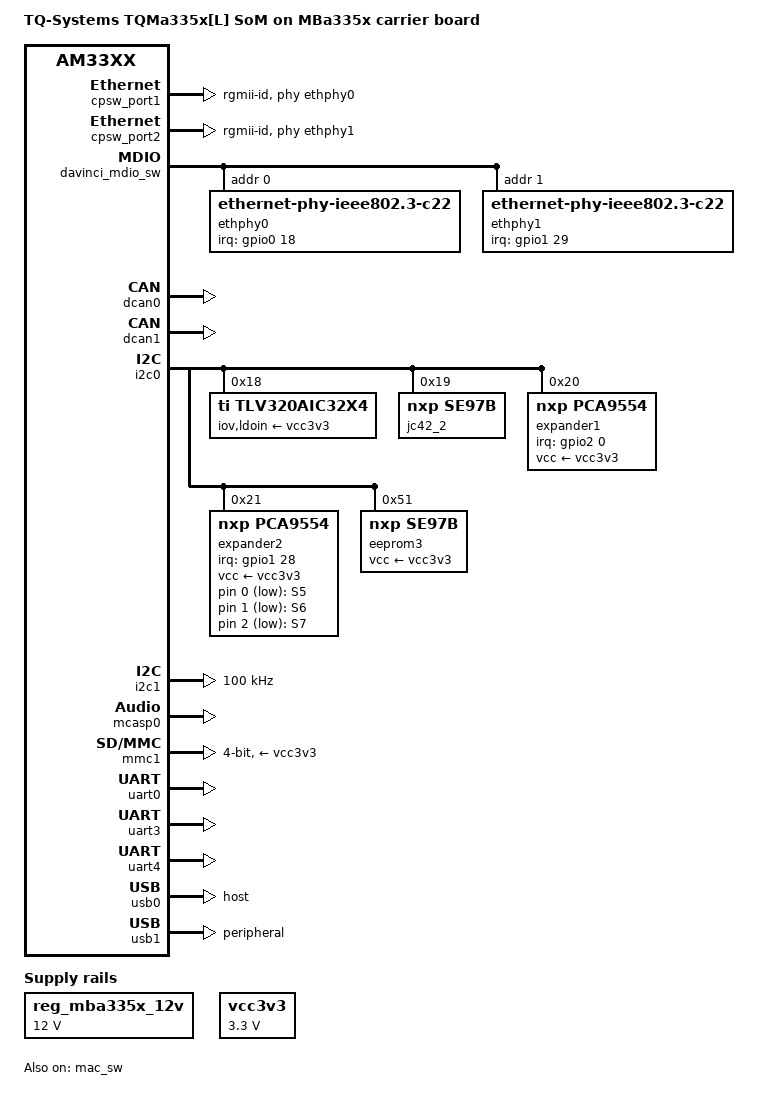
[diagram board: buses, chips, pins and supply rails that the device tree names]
// SPDX-License-Identifier: GPL-2.0-only
/*
 * Copyright (c) 2021-2025 TQ-Systems GmbH <linux@ew.tq-group.com>, D-82229 Seefeld, Germany.
 * Authors: Gregor Herburger, Matthias Schiffer
 *
 * Based on:
 * Copyright (C) 2012 Texas Instruments Incorporated - http://www.ti.com/
 */
/dts-v1/;

#include <dt-bindings/input/input.h>
#include <dt-bindings/interrupt-controller/irq.h>
#include "am335x-tqma335x.dtsi"

/ {
	model = "TQ-Systems TQMa335x[L] SoM on MBa335x carrier board";
	compatible = "tq,tqma3359-mba335x", "tq,tqma3359", "ti,am33xx";
	chassis-type = "embedded";

	chosen {
		stdout-path = &uart4;
	};

	backlight: backlight {
		compatible = "pwm-backlight";
		brightness-levels = <0 58 61 66 75 90 125 170 255>;
		default-brightness-level = <7>;
		enable-gpios = <&expander1 4 GPIO_ACTIVE_HIGH>;
		power-supply = <&reg_mba335x_12v>;
		status = "disabled";
	};

	gpio-keys {
		compatible = "gpio-keys";

		button-s5 {
			label = "S5";
			linux,code = <BTN_0>;
			gpios = <&expander2 0 GPIO_ACTIVE_LOW>;
		};

		button-s6 {
			label = "S6";
			linux,code = <BTN_1>;
			gpios = <&expander2 1 GPIO_ACTIVE_LOW>;
		};

		button-s7 {
			label = "S7";
			linux,code = <BTN_2>;
			gpios = <&expander2 2 GPIO_ACTIVE_LOW>;
		};
	};

	reg_mba335x_12v: regulator-12v {
		compatible = "regulator-fixed";
		regulator-name = "MBa335x-V12";
		regulator-min-microvolt = <12000000>;
		regulator-max-microvolt = <12000000>;
		regulator-always-on;
	};

	vcc3v3: regulator-vcc3v3 {
		compatible = "regulator-fixed";
		regulator-name = "VCC3V3";
		regulator-min-microvolt = <3300000>;
		regulator-max-microvolt = <3300000>;
		regulator-always-on;
	};

	sound {
		compatible = "simple-audio-card";
		simple-audio-card,name = "tqm-tlv320aic32";
		simple-audio-card,widgets =
			"Headphone", "Headphone Jack",
			"Line", "Line In",
			"Line", "Line Out",
			"Microphone", "Mic Jack";
		simple-audio-card,routing =
			"Headphone Jack",	"HPL",
			"Headphone Jack",	"HPR",
			"Line Out",		"LOL",
			"Line Out",		"LOR",
			"IN3_L",		"Mic Jack",
			"Mic Jack",		"Mic Bias",
			"Line In",		"IN1_L",
			"Line In",		"IN1_R";
		simple-audio-card,format = "i2s";
		simple-audio-card,bitclock-master = <&sound_master>;
		simple-audio-card,frame-master = <&sound_master>;

		simple-audio-card,cpu {
			sound-dai = <&mcasp0>;
			#sound-dai-cells = <0>;
			system-clock-direction-out;
		};

		sound_master: simple-audio-card,codec {
			sound-dai = <&tlv320aic32x4>;
			system-clock-frequency = <24000000>;
			system-clock-direction-out;
		};
	};
};

&am33xx_pinmux {
	codec_pins: codec-pins {
		pinctrl-single,pins = <
			/* xdma_event_intr0.clkout1 */
			AM33XX_PADCONF(AM335X_PIN_XDMA_EVENT_INTR0, PIN_OUTPUT, MUX_MODE3)
		>;
	};

	cpsw_default_pins: cpsw-default-pins {
		pinctrl-single,pins = <
			/* Port 1 */
			/* mii1_tx_en.rgmii1_tctl */
			AM33XX_PADCONF(AM335X_PIN_MII1_TX_EN, PIN_OUTPUT_PULLDOWN, MUX_MODE2)
			/* mii1_rx_dv.rgmii1_rctl */
			AM33XX_PADCONF(AM335X_PIN_MII1_RX_DV, PIN_INPUT_PULLDOWN, MUX_MODE2)
			/* mii1_txd3.rgmii1_td3 */
			AM33XX_PADCONF(AM335X_PIN_MII1_TXD3, PIN_OUTPUT_PULLDOWN, MUX_MODE2)
			/* mii1_txd2.rgmii1_td2 */
			AM33XX_PADCONF(AM335X_PIN_MII1_TXD2, PIN_OUTPUT_PULLDOWN, MUX_MODE2)
			/* mii1_txd1.rgmii1_td1 */
			AM33XX_PADCONF(AM335X_PIN_MII1_TXD1, PIN_OUTPUT_PULLDOWN, MUX_MODE2)
			/* mii1_txd0.rgmii1_td0 */
			AM33XX_PADCONF(AM335X_PIN_MII1_TXD0, PIN_OUTPUT_PULLDOWN, MUX_MODE2)
			/* mii1_tx_clk.rgmii1_tclk */
			AM33XX_PADCONF(AM335X_PIN_MII1_TX_CLK, PIN_OUTPUT_PULLDOWN, MUX_MODE2)
			/* mii1_rx_clk.rgmii1_rclk */
			AM33XX_PADCONF(AM335X_PIN_MII1_RX_CLK, PIN_INPUT_PULLDOWN, MUX_MODE2)
			/* mii1_rxd3.rgmii1_rd3 */
			AM33XX_PADCONF(AM335X_PIN_MII1_RXD3, PIN_INPUT_PULLDOWN, MUX_MODE2)
			/* mii1_rxd2.rgmii1_rd2 */
			AM33XX_PADCONF(AM335X_PIN_MII1_RXD2, PIN_INPUT_PULLDOWN, MUX_MODE2)
			/* mii1_rxd1.rgmii1_rd1 */
			AM33XX_PADCONF(AM335X_PIN_MII1_RXD1, PIN_INPUT_PULLDOWN, MUX_MODE2)
			/* mii1_rxd0.rgmii1_rd0 */
			AM33XX_PADCONF(AM335X_PIN_MII1_RXD0, PIN_INPUT_PULLDOWN, MUX_MODE2)

			/* Port 2 */
			/* gpmc_a0.rgmii2_tctl */
			AM33XX_PADCONF(AM335X_PIN_GPMC_A0, PIN_OUTPUT_PULLDOWN, MUX_MODE2)
			/* gpmc_a1.rgmii2_rctl */
			AM33XX_PADCONF(AM335X_PIN_GPMC_A1, PIN_INPUT_PULLDOWN, MUX_MODE2)
			/* gpmc_a2.rgmii2_td3 */
			AM33XX_PADCONF(AM335X_PIN_GPMC_A2, PIN_OUTPUT_PULLDOWN, MUX_MODE2)
			/* gpmc_a3.rgmii2_td2 */
			AM33XX_PADCONF(AM335X_PIN_GPMC_A3, PIN_OUTPUT_PULLDOWN, MUX_MODE2)
			/* gpmc_a4.rgmii2_td1 */
			AM33XX_PADCONF(AM335X_PIN_GPMC_A4, PIN_OUTPUT_PULLDOWN, MUX_MODE2)
			/* gpmc_a5.rgmii2_td0 */
			AM33XX_PADCONF(AM335X_PIN_GPMC_A5, PIN_OUTPUT_PULLDOWN, MUX_MODE2)
			/* gpmc_a6.rgmii2_tclk */
			AM33XX_PADCONF(AM335X_PIN_GPMC_A6, PIN_OUTPUT_PULLDOWN, MUX_MODE2)
			/* gpmc_a7.rgmii2_rclk */
			AM33XX_PADCONF(AM335X_PIN_GPMC_A7, PIN_INPUT_PULLDOWN, MUX_MODE2)
			/* gpmc_a8.rgmii2_rd3 */
			AM33XX_PADCONF(AM335X_PIN_GPMC_A8, PIN_INPUT_PULLDOWN, MUX_MODE2)
			/* gpmc_a9.rgmii2_rd2 */
			AM33XX_PADCONF(AM335X_PIN_GPMC_A9, PIN_INPUT_PULLDOWN, MUX_MODE2)
			/* gpmc_a10.rgmii2_rd1 */
			AM33XX_PADCONF(AM335X_PIN_GPMC_A10, PIN_INPUT_PULLDOWN, MUX_MODE2)
			/* gpmc_a11.rgmii2_rd0 */
			AM33XX_PADCONF(AM335X_PIN_GPMC_A11, PIN_INPUT_PULLDOWN, MUX_MODE2)
		>;
	};

	cpsw_sleep_pins: cpsw-sleep-pins {
		pinctrl-single,pins = <
			/* Port 1 */
			AM33XX_PADCONF(AM335X_PIN_MII1_TX_EN, PIN_INPUT_PULLDOWN, MUX_MODE7)
			AM33XX_PADCONF(AM335X_PIN_MII1_RX_DV, PIN_INPUT_PULLDOWN, MUX_MODE7)
			AM33XX_PADCONF(AM335X_PIN_MII1_TXD3, PIN_INPUT_PULLDOWN, MUX_MODE7)
			AM33XX_PADCONF(AM335X_PIN_MII1_TXD2, PIN_INPUT_PULLDOWN, MUX_MODE7)
			AM33XX_PADCONF(AM335X_PIN_MII1_TXD1, PIN_INPUT_PULLDOWN, MUX_MODE7)
			AM33XX_PADCONF(AM335X_PIN_MII1_TXD0, PIN_INPUT_PULLDOWN, MUX_MODE7)
			AM33XX_PADCONF(AM335X_PIN_MII1_TX_CLK, PIN_INPUT_PULLDOWN, MUX_MODE7)
			AM33XX_PADCONF(AM335X_PIN_MII1_RX_CLK, PIN_INPUT_PULLDOWN, MUX_MODE7)
			AM33XX_PADCONF(AM335X_PIN_MII1_RXD3, PIN_INPUT_PULLDOWN, MUX_MODE7)
			AM33XX_PADCONF(AM335X_PIN_MII1_RXD2, PIN_INPUT_PULLDOWN, MUX_MODE7)
			AM33XX_PADCONF(AM335X_PIN_MII1_RXD1, PIN_INPUT_PULLDOWN, MUX_MODE7)
			AM33XX_PADCONF(AM335X_PIN_MII1_RXD0, PIN_INPUT_PULLDOWN, MUX_MODE7)

			/* Port 2 */
			AM33XX_PADCONF(AM335X_PIN_GPMC_A0, PIN_INPUT_PULLDOWN, MUX_MODE7)
			AM33XX_PADCONF(AM335X_PIN_GPMC_A1, PIN_INPUT_PULLDOWN, MUX_MODE7)
			AM33XX_PADCONF(AM335X_PIN_GPMC_A2, PIN_INPUT_PULLDOWN, MUX_MODE7)
			AM33XX_PADCONF(AM335X_PIN_GPMC_A3, PIN_INPUT_PULLDOWN, MUX_MODE7)
			AM33XX_PADCONF(AM335X_PIN_GPMC_A4, PIN_INPUT_PULLDOWN, MUX_MODE7)
			AM33XX_PADCONF(AM335X_PIN_GPMC_A5, PIN_INPUT_PULLDOWN, MUX_MODE7)
			AM33XX_PADCONF(AM335X_PIN_GPMC_A6, PIN_INPUT_PULLDOWN, MUX_MODE7)
			AM33XX_PADCONF(AM335X_PIN_GPMC_A7, PIN_INPUT_PULLDOWN, MUX_MODE7)
			AM33XX_PADCONF(AM335X_PIN_GPMC_A8, PIN_INPUT_PULLDOWN, MUX_MODE7)
			AM33XX_PADCONF(AM335X_PIN_GPMC_A9, PIN_INPUT_PULLDOWN, MUX_MODE7)
			AM33XX_PADCONF(AM335X_PIN_GPMC_A10, PIN_INPUT_PULLDOWN, MUX_MODE7)
			AM33XX_PADCONF(AM335X_PIN_GPMC_A11, PIN_INPUT_PULLDOWN, MUX_MODE7)
		>;
	};

	davinci_mdio_default_pins: davinci_mdio-default-pins {
		pinctrl-single,pins = <
			/* mdio.mdio_data */
			AM33XX_PADCONF(AM335X_PIN_MDIO, PIN_INPUT_PULLUP | SLEWCTRL_FAST, MUX_MODE0)
			/* mdc.mdio_clk */
			AM33XX_PADCONF(AM335X_PIN_MDC, PIN_OUTPUT_PULLUP, MUX_MODE0)
		>;
	};

	davinci_mdio_sleep_pins: davinci_mdio-sleep-pins {
		pinctrl-single,pins = <
			/* mdio.mdio_data */
			AM33XX_PADCONF(AM335X_PIN_MDIO, PIN_INPUT_PULLUP, MUX_MODE7)
			/* mdc.mdio_clk */
			AM33XX_PADCONF(AM335X_PIN_MDC, PIN_INPUT_PULLUP, MUX_MODE7)
		>;
	};

	davinci_mdio_phy0_pins: davinci_mdio-phy0-pins {
		pinctrl-single,pins = <
			/* usb0_drvvbus.gpio0_18 - PHY interrupt */
			AM33XX_PADCONF(AM335X_PIN_USB0_DRVVBUS, PIN_INPUT, MUX_MODE7)
		>;
	};

	davinci_mdio_phy1_pins: davinci_mdio-phy1-pins {
		pinctrl-single,pins = <
			/* gpmc_csn0.gpio1_29 - PHY interrupt */
			AM33XX_PADCONF(AM335X_PIN_GPMC_CSN0, PIN_INPUT, MUX_MODE7)
		>;
	};

	dcan0_pins: dcan0-pins {
		pinctrl-single,pins = <
			/* uart1_ctsn.d_can0_tx */
			AM33XX_PADCONF(AM335X_PIN_UART1_CTSN, PIN_OUTPUT_PULLDOWN, MUX_MODE2)
			/* uart1_rtsn.d_can0_rx */
			AM33XX_PADCONF(AM335X_PIN_UART1_RTSN, PIN_INPUT_PULLUP, MUX_MODE2)
		>;
	};

	dcan1_pins: dcan1-pins {
		pinctrl-single,pins = <
			/* uart0_ctsn.d_can1_tx */
			AM33XX_PADCONF(AM335X_PIN_UART0_CTSN, PIN_OUTPUT_PULLDOWN, MUX_MODE2)
			/* uart0_rtsn.d_can1_rx */
			AM33XX_PADCONF(AM335X_PIN_UART0_RTSN, PIN_INPUT_PULLUP, MUX_MODE2)
		>;
	};

	ecap2_pins: ecap2-pins {
		pinctrl-single,pins = <
			/* mcasp0_ahclkr.ecap2_in_pwm2_out */
			AM33XX_PADCONF(AM335X_PIN_MCASP0_AHCLKR, PIN_OUTPUT, MUX_MODE4)
		>;
	};

	expander1_pins: expander1-pins {
		pinctrl-single,pins = <
			/* gpmc_csn3.gpio2_0 - interrupt */
			AM33XX_PADCONF(AM335X_PIN_GPMC_CSN3, PIN_INPUT_PULLUP, MUX_MODE7 )
		>;
	};

	expander2_pins: expander2-pins {
		pinctrl-single,pins = <
			/* gpmc_ben1.gpio1_28 - interrupt */
			AM33XX_PADCONF(AM335X_PIN_GPMC_BEN1, PIN_INPUT_PULLUP, MUX_MODE7)
		>;
	};

	i2c1_pins: i2c1-pins {
		pinctrl-single,pins = <
			/* uart1_rxd.i2c1_sda */
			AM33XX_PADCONF(AM335X_PIN_UART1_RXD, PIN_INPUT_PULLUP, MUX_MODE3)
			/* uart1_txd.i2c1_scl */
			AM33XX_PADCONF(AM335X_PIN_UART1_TXD, PIN_INPUT_PULLUP, MUX_MODE3)
		>;
	};

	lcd_pins: lcd-pins {
		pinctrl-single,pins = <
			/* gpmc_ad8.lcd_data23 */
			AM33XX_PADCONF(AM335X_PIN_GPMC_AD8, PIN_OUTPUT, MUX_MODE1)
			/* gpmc_ad9.lcd_data22 */
			AM33XX_PADCONF(AM335X_PIN_GPMC_AD9, PIN_OUTPUT, MUX_MODE1)
			/* gpmc_ad10.lcd_data21 */
			AM33XX_PADCONF(AM335X_PIN_GPMC_AD10, PIN_OUTPUT, MUX_MODE1)
			/* gpmc_ad11.lcd_data20 */
			AM33XX_PADCONF(AM335X_PIN_GPMC_AD11, PIN_OUTPUT, MUX_MODE1)
			/* gpmc_ad12.lcd_data19 */
			AM33XX_PADCONF(AM335X_PIN_GPMC_AD12, PIN_OUTPUT, MUX_MODE1)
			/* gpmc_ad13.lcd_data18 */
			AM33XX_PADCONF(AM335X_PIN_GPMC_AD13, PIN_OUTPUT, MUX_MODE1)
			/* gpmc_ad14.lcd_data17 */
			AM33XX_PADCONF(AM335X_PIN_GPMC_AD14, PIN_OUTPUT, MUX_MODE1)
			/* gpmc_ad15.lcd_data16 */
			AM33XX_PADCONF(AM335X_PIN_GPMC_AD15, PIN_OUTPUT, MUX_MODE1)
			/* lcd_data0.lcd_data0 */
			AM33XX_PADCONF(AM335X_PIN_LCD_DATA0, PIN_OUTPUT, MUX_MODE0)
			/* lcd_data1.lcd_data1 */
			AM33XX_PADCONF(AM335X_PIN_LCD_DATA1, PIN_OUTPUT, MUX_MODE0)
			/* lcd_data2.lcd_data2 */
			AM33XX_PADCONF(AM335X_PIN_LCD_DATA2, PIN_OUTPUT, MUX_MODE0)
			/* lcd_data3.lcd_data3 */
			AM33XX_PADCONF(AM335X_PIN_LCD_DATA3, PIN_OUTPUT, MUX_MODE0)
			/* lcd_data4.lcd_data4 */
			AM33XX_PADCONF(AM335X_PIN_LCD_DATA4, PIN_OUTPUT, MUX_MODE0)
			/* lcd_data5.lcd_data5 */
			AM33XX_PADCONF(AM335X_PIN_LCD_DATA5, PIN_OUTPUT, MUX_MODE0)
			/* lcd_data6.lcd_data6 */
			AM33XX_PADCONF(AM335X_PIN_LCD_DATA6, PIN_OUTPUT, MUX_MODE0)
			/* lcd_data7.lcd_data7 */
			AM33XX_PADCONF(AM335X_PIN_LCD_DATA7, PIN_OUTPUT, MUX_MODE0)
			/* lcd_data8.lcd_data8 */
			AM33XX_PADCONF(AM335X_PIN_LCD_DATA8, PIN_OUTPUT, MUX_MODE0)
			/* lcd_data9.lcd_data9 */
			AM33XX_PADCONF(AM335X_PIN_LCD_DATA9, PIN_OUTPUT, MUX_MODE0)
			/* lcd_data10.lcd_data10 */
			AM33XX_PADCONF(AM335X_PIN_LCD_DATA10, PIN_OUTPUT, MUX_MODE0)
			/* lcd_data11.lcd_data11 */
			AM33XX_PADCONF(AM335X_PIN_LCD_DATA11, PIN_OUTPUT, MUX_MODE0)
			/* lcd_data12.lcd_data12 */
			AM33XX_PADCONF(AM335X_PIN_LCD_DATA12, PIN_OUTPUT, MUX_MODE0)
			/* lcd_data13.lcd_data13 */
			AM33XX_PADCONF(AM335X_PIN_LCD_DATA13, PIN_OUTPUT, MUX_MODE0)
			/* lcd_data14.lcd_data14 */
			AM33XX_PADCONF(AM335X_PIN_LCD_DATA14, PIN_OUTPUT, MUX_MODE0)
			/* lcd_data15.lcd_data15 */
			AM33XX_PADCONF(AM335X_PIN_LCD_DATA15, PIN_OUTPUT, MUX_MODE0)
			/* lcd_vsync.lcd_vsync */
			AM33XX_PADCONF(AM335X_PIN_LCD_VSYNC, PIN_OUTPUT, MUX_MODE0)
			/* lcd_hsync.lcd_hsync */
			AM33XX_PADCONF(AM335X_PIN_LCD_HSYNC, PIN_OUTPUT, MUX_MODE0)
			/* lcd_pclk.lcd_pclk */
			AM33XX_PADCONF(AM335X_PIN_LCD_PCLK, PIN_OUTPUT, MUX_MODE0)
			/* lcd_ac_bias_en.lcd_ac_bias_en */
			AM33XX_PADCONF(AM335X_PIN_LCD_AC_BIAS_EN, PIN_OUTPUT, MUX_MODE0)
		>;
	};

	mcasp0_pins: mcasp0-pins {
		pinctrl-single,pins = <
			/* mcasp0_fsx.mcasp0_fsx */
			AM33XX_PADCONF(AM335X_PIN_MCASP0_FSX, PIN_INPUT_PULLDOWN, MUX_MODE0)
			/* mcasp0_aclkx.mcasp0_aclkx*/
			AM33XX_PADCONF(AM335X_PIN_MCASP0_ACLKX, PIN_INPUT_PULLDOWN, MUX_MODE0)
			/* mcasp0_axr0.mcasp0_axr0 */
			AM33XX_PADCONF(AM335X_PIN_MCASP0_AXR0, PIN_INPUT_PULLDOWN, MUX_MODE0)
			/* mcasp0_axr1.mcasp0_axr1 */
			AM33XX_PADCONF(AM335X_PIN_MCASP0_AXR1, PIN_INPUT_PULLDOWN, MUX_MODE0)
			/* mcasp0_aclkr.mcasp0_aclkr */
			AM33XX_PADCONF(AM335X_PIN_MCASP0_ACLKR, PIN_INPUT_PULLDOWN, MUX_MODE0)
			/* mcasp0_fsr.mcasp0_fsr */
			AM33XX_PADCONF(AM335X_PIN_MCASP0_FSR, PIN_INPUT_PULLDOWN, MUX_MODE0)
		>;
	};

	mmc1_pins: mmc1-pins {
		pinctrl-single,pins = <
			/* mmc0_dat3.mmc0_dat3 */
			AM33XX_PADCONF(AM335X_PIN_MMC0_DAT3, PIN_INPUT_PULLUP, MUX_MODE0)
			/* mmc0_dat2.mmc0_dat2 */
			AM33XX_PADCONF(AM335X_PIN_MMC0_DAT2, PIN_INPUT_PULLUP, MUX_MODE0)
			/* mmc0_dat1.mmc0_dat1 */
			AM33XX_PADCONF(AM335X_PIN_MMC0_DAT1, PIN_INPUT_PULLUP, MUX_MODE0)
			/* mmc0_dat0.mmc0_dat0 */
			AM33XX_PADCONF(AM335X_PIN_MMC0_DAT0, PIN_INPUT_PULLUP, MUX_MODE0)
			/* mmc0_clk.mmc0_clk */
			AM33XX_PADCONF(AM335X_PIN_MMC0_CLK, PIN_INPUT_PULLUP, MUX_MODE0)
			/* mmc0_cmd.mmc0_cmd */
			AM33XX_PADCONF(AM335X_PIN_MMC0_CMD, PIN_INPUT_PULLUP, MUX_MODE0)
		>;
	};

	polytouch_pins: polytouch-pins {
		pinctrl-single,pins = <
			/* gpmc_clk.gpio2_1 - touch interrupt */
			AM33XX_PADCONF(AM335X_PIN_GPMC_CLK, PIN_INPUT_PULLUP, MUX_MODE7)
		>;
	};

	uart0_pins: uart0-pins {
		pinctrl-single,pins = <
			/* uart0_rxd.uart0_rxd */
			AM33XX_PADCONF(AM335X_PIN_UART0_RXD, PIN_INPUT_PULLUP, MUX_MODE0)
			/* uart0_txd.uart0_txd */
			AM33XX_PADCONF(AM335X_PIN_UART0_TXD, PIN_OUTPUT_PULLDOWN, MUX_MODE0)
		>;
	};

	uart3_pins: uart3-pins {
		pinctrl-single,pins = <
			/* spi0_cs1.uart3_rxd */
			AM33XX_PADCONF(AM335X_PIN_SPI0_CS1, PIN_INPUT_PULLUP, MUX_MODE1)
			/* ecap0_in_pwm0_out.uart3_txd */
			AM33XX_PADCONF(AM335X_PIN_ECAP0_IN_PWM0_OUT, PIN_OUTPUT_PULLDOWN, MUX_MODE1)
		>;
	};

	uart4_pins: uart4-pins {
		pinctrl-single,pins = <
			/* gpmc_wait0.uart4_rxd */
			AM33XX_PADCONF(AM335X_PIN_GPMC_WAIT0, PIN_INPUT_PULLUP, MUX_MODE6)
			/* gpmc_wpn.uart4_txd */
			AM33XX_PADCONF(AM335X_PIN_GPMC_WPN, PIN_OUTPUT_PULLDOWN, MUX_MODE6)
		>;
	};
};

&cpsw_port1 {
	phy-handle = <&ethphy0>;
	phy-mode = "rgmii-id";
	ti,dual-emac-pvid = <1>;
};

&cpsw_port2 {
	phy-handle = <&ethphy1>;
	phy-mode = "rgmii-id";
	ti,dual-emac-pvid = <2>;
};

&davinci_mdio_sw {
	pinctrl-names = "default", "sleep";
	pinctrl-0 = <&davinci_mdio_default_pins>;
	pinctrl-1 = <&davinci_mdio_sleep_pins>;
	status = "okay";

	ethphy0: ethernet-phy@0 {
		compatible = "ethernet-phy-ieee802.3-c22";
		reg = <0>;
		pinctrl-names = "default";
		pinctrl-0 = <&davinci_mdio_phy0_pins>;
		interrupt-parent = <&gpio0>;
		interrupts = <18 IRQ_TYPE_LEVEL_LOW>;
		rxc-skew-ps = <1860>;
		rxd0-skew-ps = <0>;
		rxd1-skew-ps = <0>;
		rxd2-skew-ps = <0>;
		rxd3-skew-ps = <0>;
		rxdv-skew-ps = <0>;
		txc-skew-ps = <1860>;
		txd0-skew-ps = <0>;
		txd1-skew-ps = <0>;
		txd2-skew-ps = <0>;
		txd3-skew-ps = <0>;
		txen-skew-ps = <0>;
	};

	ethphy1: ethernet-phy@1 {
		compatible = "ethernet-phy-ieee802.3-c22";
		reg = <1>;
		pinctrl-names = "default";
		pinctrl-0 = <&davinci_mdio_phy1_pins>;
		interrupt-parent = <&gpio1>;
		interrupts = <29 IRQ_TYPE_LEVEL_LOW>;
		rxc-skew-ps = <1860>;
		rxd0-skew-ps = <0>;
		rxd1-skew-ps = <0>;
		rxd2-skew-ps = <0>;
		rxd3-skew-ps = <0>;
		rxdv-skew-ps = <0>;
		txc-skew-ps = <1860>;
		txd0-skew-ps = <0>;
		txd1-skew-ps = <0>;
		txd2-skew-ps = <0>;
		txd3-skew-ps = <0>;
		txen-skew-ps = <0>;
	};
};

&dcan0 {
	pinctrl-names = "default";
	pinctrl-0 = <&dcan0_pins>;
	status = "okay";
};

&dcan1 {
	pinctrl-names = "default";
	pinctrl-0 = <&dcan1_pins>;
	status = "okay";
};

&ds1339 {
	interrupt-parent = <&expander2>;
	interrupts = <3 IRQ_TYPE_EDGE_RISING>;
};

&ecap2 {
	pinctrl-names = "default";
	pinctrl-0 = <&ecap2_pins>;
};

&i2c0 {
	tlv320aic32x4: audio-codec@18 {
		compatible = "ti,tlv320aic32x4";
		reg = <0x18>;
		pinctrl-names = "default";
		pinctrl-0 = <&codec_pins>;
		clocks = <&clk_24mhz>;
		clock-names = "mclk";
		iov-supply = <&vcc3v3>;
		ldoin-supply = <&vcc3v3>;
		#sound-dai-cells = <0>;
	};

	jc42_2: temperature-sensor@19 {
		compatible = "nxp,se97b", "jedec,jc-42.4-temp";
		reg = <0x19>;
	};

	expander1: gpio@20 {
		compatible = "nxp,pca9554";
		reg = <0x20>;
		pinctrl-names = "default";
		pinctrl-0 = <&expander1_pins>;
		vcc-supply = <&vcc3v3>;
		gpio-controller;
		#gpio-cells = <2>;
		interrupt-controller;
		#interrupt-cells = <2>;
		interrupt-parent = <&gpio2>;
		interrupts = <0 IRQ_TYPE_EDGE_FALLING>;
	};

	expander2: gpio@21 {
		compatible = "nxp,pca9554";
		reg = <0x21>;
		pinctrl-names = "default";
		pinctrl-0 = <&expander2_pins>;
		vcc-supply = <&vcc3v3>;
		gpio-controller;
		#gpio-cells = <2>;
		interrupt-controller;
		#interrupt-cells = <2>;
		interrupt-parent = <&gpio1>;
		interrupts = <28 IRQ_TYPE_EDGE_FALLING>;
	};

	eeprom3: eeprom@51 {
		compatible = "nxp,se97b", "atmel,24c02";
		reg = <0x51>;
		pagesize = <16>;
		vcc-supply = <&vcc3v3>;
	};
};

&i2c1 {
	pinctrl-names = "default";
	pinctrl-0 = <&i2c1_pins>;
	clock-frequency = <100000>;
	status = "okay";
};

&lcdc {
	pinctrl-names = "default";
	pinctrl-0 = <&lcd_pins>;
	blue-and-red-wiring = "crossed";
};

&mac_sw {
	pinctrl-names = "default", "sleep";
	pinctrl-0 = <&cpsw_default_pins>;
	pinctrl-1 = <&cpsw_sleep_pins>;
	status = "okay";
};

&mcasp0 {
	pinctrl-names = "default";
	pinctrl-0 = <&mcasp0_pins>;
	#sound-dai-cells = <0>;
	op-mode = <0>;
	tdm-slots = <2>;
	/* 16 serializer */
	serial-dir = <  /* 0: INACTIVE, 1: TX, 2: RX */
		2 1 0 0
		0 0 0 0
		0 0 0 0
		0 0 0 0
	>;
	tx-num-evt = <32>;
	rx-num-evt = <32>;
	status = "okay";
};

&mmc1 {
	pinctrl-names = "default";
	pinctrl-0 = <&mmc1_pins>;
	vmmc-supply = <&vcc3v3>;
	bus-width = <4>;
	no-1-8-v;
	no-mmc;
	no-sdio;
	status = "okay";
};

&tps {
	interrupt-parent = <&expander2>;
	interrupts = <4 IRQ_TYPE_EDGE_RISING>;
};

&uart0 {
	pinctrl-names = "default";
	pinctrl-0 = <&uart0_pins>;
	status = "okay";
};

&uart3 {
	pinctrl-names = "default";
	pinctrl-0 = <&uart3_pins>;
	status = "okay";
};

&uart4 {
	pinctrl-names = "default";
	pinctrl-0 = <&uart4_pins>;
	status = "okay";
};

&usb0 {
	dr_mode = "host";
};

&usb1 {
	/* Should be "otg", but role switching currently doesn't work */
	dr_mode = "peripheral";
};

/* SOM supply */
&vcc3v3in {
	vin-supply = <&vcc3v3>;
};
